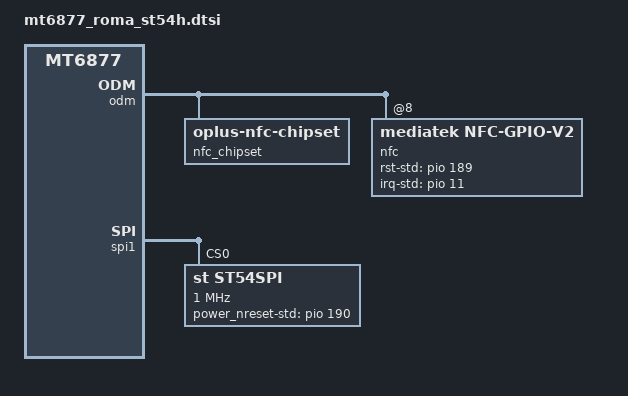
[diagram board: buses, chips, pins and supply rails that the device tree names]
/**********************************************************************************
copyright (c)  2008-2020  Guangdong oplus Mobile Comm Corp., Ltd
*
***********************************************************************************/
&odm {
	nfc_chipset:nfc_chipset {
		compatible = "oplus-nfc-chipset";
		chipset-22612 = "ST54H";
		chipset-22694 = "ST54H";
		chipset-226B1 = "ST54H";
	};

        nfc:nfc {
           compatible = "mediatek,nfc-gpio-v2";
           reg = <0x8>;
           gpio-rst = <189>;
           gpio-rst-std = <&pio 189 0x0>;
           gpio-irq = <11>;
           gpio-irq-std = <&pio 11 0x0>;
       };

};

&spi1 {
       status = "okay";
       #address-cells = <1>;
       #size-cells = <0>;
       st54spi@0 {
           compatible = "st,st54spi";
           reg = <0>;
           spi-max-frequency = <1000000> ;
           gpio-power_nreset = <190>;
           gpio-power_nreset-std = <&pio 190 0x0>;
           power_mode = "ST54H";
           pinctrl-names = "pinctrl_state_mode_idle", "pinctrl_state_mode_spi";
           pinctrl-0 = <&pinctrl_state_mode_idle>;
           pinctrl-1 = <&pinctrl_state_mode_spi>;
       };
};

&pio {
    pinctrl_state_mode_idle: pinctrl_state_mode_idle {
        pins_cmd0_dat {
            pinmux = <PINMUX_GPIO183__FUNC_GPIO183>;
            input-enable;
            bias-pull-down;
        };
    };

    pinctrl_state_mode_spi: pinctrl_state_mode_spi {
        pins_cmd0_dat {
            pinmux = <PINMUX_GPIO183__FUNC_SPI1_CSB>;
            bias-disable;
        };
    };
};
